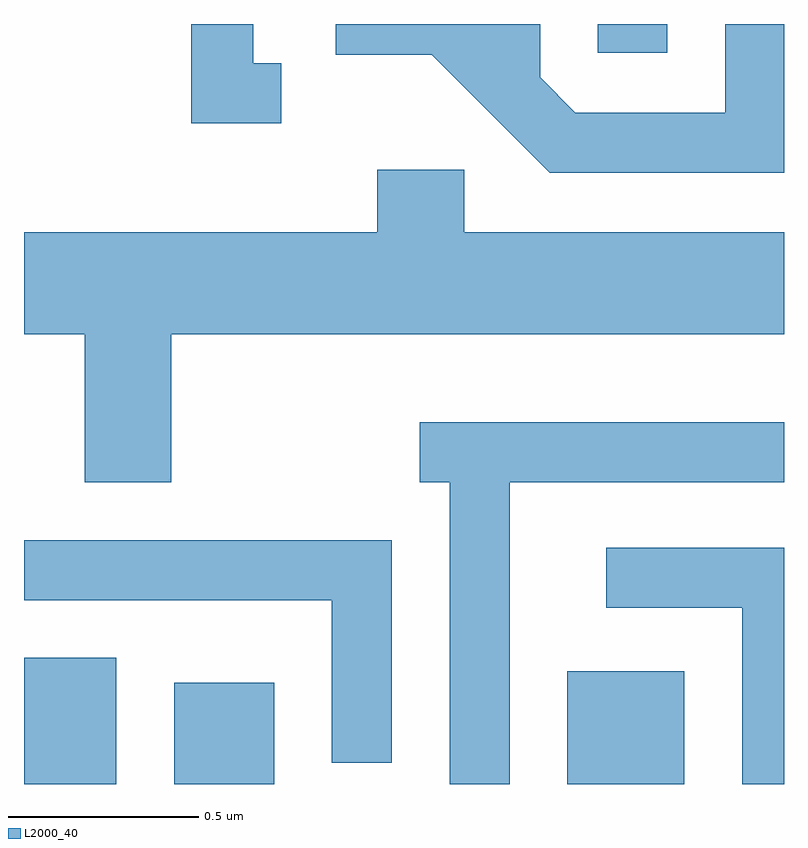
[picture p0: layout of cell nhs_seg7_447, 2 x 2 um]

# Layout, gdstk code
import gdstk
lib = gdstk.Library(unit=1e-6, precision=1e-09)
def R(c, l, rs):  # rectangles x0, y0, x1, y1
    for r in rs: c.add(gdstk.rectangle(r[:2], r[2:], *l))
def P(c, l, *ps):  # polygons
    for p in ps: c.add(gdstk.Polygon(p, *l))
L2000_40 = (2000, 40)

nhs_seg7_447 = lib.new_cell('nhs_seg7_447')
R(nhs_seg7_447, L2000_40, [(188.611,1704.252,188.854,1704.584), (189.006,1704.252,189.269,1704.519), (190.041,1704.252,190.349,1704.549), (190.121,1706.176,190.304,1706.252)])
P(nhs_seg7_447, L2000_40, [(189.288,1706.149),(189.214,1706.149),(189.214,1706.252),(189.051,1706.252),(189.051,1705.991),(189.288,1705.991)],
  [(190.611,1706.252),(190.456,1706.252),(190.456,1706.019),(190.062,1706.019),(189.969,1706.112),(189.969,1706.252),(189.431,1706.252),(189.431,1706.171),(189.684,1706.171),(189.994,1705.861),(190.611,1705.861)],
  [(188.999,1705.436),(190.611,1705.436),(190.611,1705.704),(189.769,1705.704),(189.769,1705.869),(189.541,1705.869),(189.541,1705.704),(188.611,1705.704),(188.611,1705.436),(188.771,1705.436),(188.771,1705.046),(188.999,1705.046)],
  [(189.889,1705.046),(190.611,1705.046),(190.611,1705.204),(189.653,1705.204),(189.653,1705.046),(189.731,1705.046),(189.731,1704.252),(189.889,1704.252)],
  [(189.579,1704.894),(188.611,1704.894),(188.611,1704.736),(189.421,1704.736),(189.421,1704.308),(189.579,1704.308)],
  [(190.611,1704.874),(190.143,1704.874),(190.143,1704.716),(190.501,1704.716),(190.501,1704.252),(190.611,1704.252)])

lib.write_gds('nhs_seg7_447.gds')
